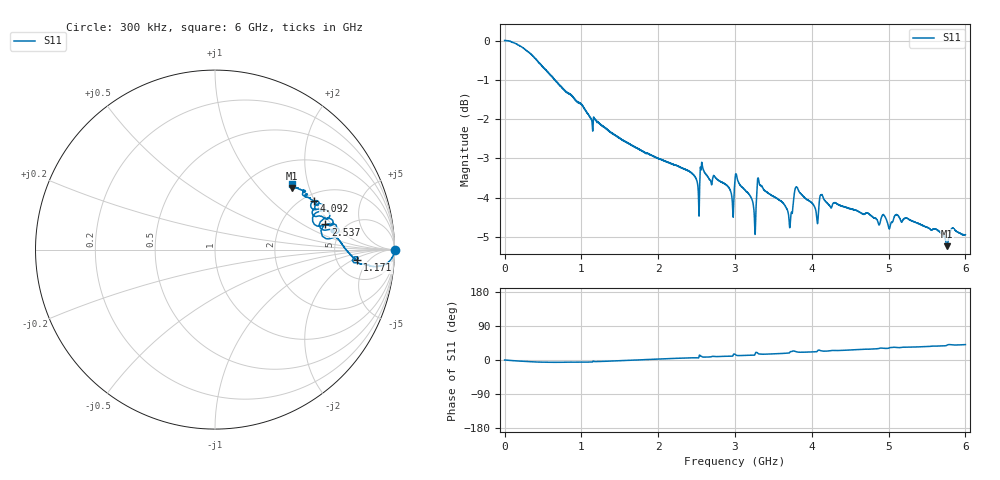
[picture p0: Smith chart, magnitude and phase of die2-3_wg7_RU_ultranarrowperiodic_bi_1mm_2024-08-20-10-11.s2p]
!Keysight Technologies,P9374A,MY57304198,A.17.20.09
!Date: Tuesday, August 20, 2024 10:11:07
!Correction: S11(C  1-Port  )
!S21(C  1-Port  )
!S12(Off)
!S22(Off)
!S2P File: Measurements: S11, S21, S12, S22:
# Hz S  dB  R 50
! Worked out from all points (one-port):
!   6000 points, 300 kHz to 6 GHz, reference 50 ohm
!   lowest |S11| = -5.2 dB at 5.758 GHz (marker M1), VSWR 3.42, Z = 78.6 + j76.9 ohm
!   |S11| at or under -10 dB: nowhere
!   S11 on the Smith chart (normalised r, x): 300 kHz: open; 1.171 GHz: 7.98, -2.45; 2.537 GHz: 3.58, +1.67; 4.092 GHz: 2.27, +1.98; 6 GHz: 1.47, +1.60
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300000  0.00 -0.0  -200.00 45.0  -200.00 45.0  -200.00 45.0
4.37351e8  -0.54 -5.4  -200.00 45.0  -200.00 45.0  -200.00 45.0
1.000417e9  -1.62 -5.6  -200.00 45.0  -200.00 45.0  -200.00 45.0
1.171437e9  -2.00 -4.1  -200.00 45.0  -200.00 45.0  -200.00 45.0
2.000533e9  -3.00 2.4  -200.00 45.0  -200.00 45.0  -200.00 45.0
2.499592e9  -3.54 5.8  -200.00 45.0  -200.00 45.0  -200.00 45.0
2.536596e9  -4.01 12.8  -200.00 45.0  -200.00 45.0  -200.00 45.0
2.578601e9  -3.22 7.9  -200.00 45.0  -200.00 45.0  -200.00 45.0
2.943643e9  -3.83 10.0  -200.00 45.0  -200.00 45.0  -200.00 45.0
3.00065e9  -3.51 14.9  -200.00 45.0  -200.00 45.0  -200.00 45.0
3.229677e9  -4.10 12.7  -200.00 45.0  -200.00 45.0  -200.00 45.0
3.294684e9  -3.52 18.3  -200.00 45.0  -200.00 45.0  -200.00 45.0
3.379694e9  -3.81 15.3  -200.00 45.0  -200.00 45.0  -200.00 45.0
3.680729e9  -4.30 18.0  -200.00 45.0  -200.00 45.0  -200.00 45.0
3.731735e9  -4.39 22.2  -200.00 45.0  -200.00 45.0  -200.00 45.0
3.77574e9  -3.86 23.3  -200.00 45.0  -200.00 45.0  -200.00 45.0
4.000767e9  -4.13 21.3  -200.00 45.0  -200.00 45.0  -200.00 45.0
4.091777e9  -4.23 26.1  -200.00 45.0  -200.00 45.0  -200.00 45.0
4.145784e9  -3.99 23.4  -200.00 45.0  -200.00 45.0  -200.00 45.0
5.000883e9  -4.75 31.2  -200.00 45.0  -200.00 45.0  -200.00 45.0
5.757972e9  -5.23 38.7  -200.00 45.0  -200.00 45.0  -200.00 45.0
6e9  -4.94 40.6  -200.00 45.0  -200.00 45.0  -200.00 45.0
